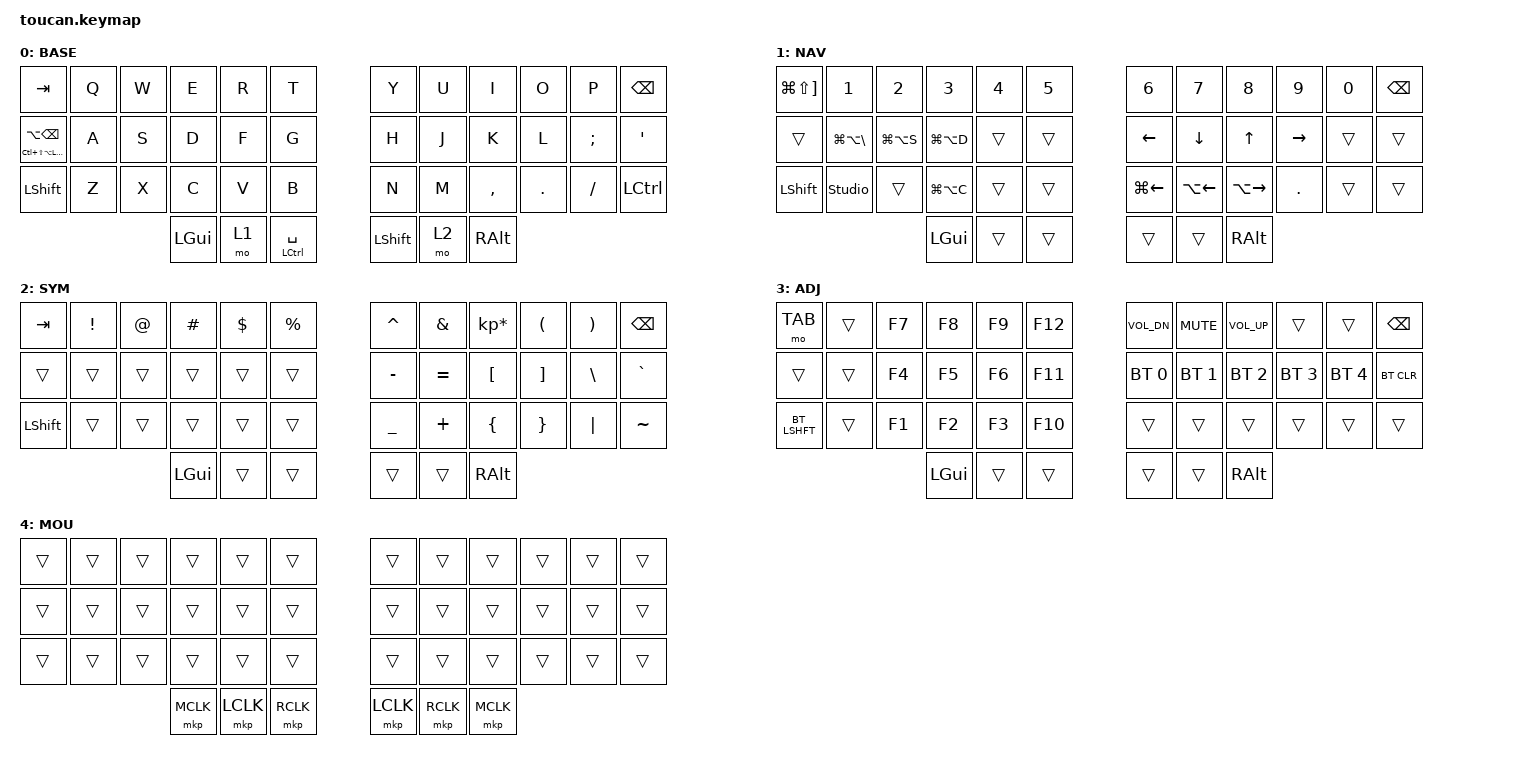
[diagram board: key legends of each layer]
#include <behaviors.dtsi>
#include <dt-bindings/zmk/bt.h>
#include <dt-bindings/zmk/keys.h>
#include <dt-bindings/zmk/pointing.h>

#define BASE 0
#define NAV  1
#define SYM  2
#define ADJ  3

&mt {
    flavor = "hold-preferred";
    tapping-term-ms = <200>;
    quick-tap-ms = <175>;
};

/ {
    conditional_layers {
        compatible = "zmk,conditional-layers";

        tri_layer {
            if-layers = <1 2>;
            then-layer = <3>;
        };
    };

    combos {
        compatible = "zmk,combos";

        Enter {
            bindings = <&kp RET>;
            key-positions = <19 20>;
            timeout-ms = <50>;
            require-prior-idle-ms = <100>;
        };

        Escape {
            bindings = <&kp ESC>;
            key-positions = <0 1>;
        };
    };

    behaviors {
        // Space thumb: tap = Space; hold + Tab = Control (Ctrl+Tab: Dia tab switcher).
        // Only the Tab key (position 0) can turn it into Control, so typing is unaffected.
        space_ctl: space_ctl {
            compatible = "zmk,behavior-hold-tap";
            #binding-cells = <2>;
            bindings = <&kp>, <&kp>;
            flavor = "hold-preferred";
            tapping-term-ms = <200>;
            hold-trigger-key-positions = <0>;
            require-prior-idle-ms = <150>;
        };
    };

    keymap {
        compatible = "zmk,keymap";

        base {
            display-name = "BASE";
            bindings = <
&kp TAB                        &kp Q  &kp W  &kp E  &kp R  &kp T  &kp Y  &kp U  &kp I      &kp O    &kp P     &kp BSPC
&mt LC(LS(LA(LGUI))) LA(BSPC)  &kp A  &kp S  &kp D  &kp F  &kp G  &kp H  &kp J  &kp K      &kp L    &kp SEMI  &kp SQT
&kp LSHFT                      &kp Z  &kp X  &kp C  &kp V  &kp B  &kp N  &kp M  &kp COMMA  &kp DOT  &kp FSLH  &kp LEFT_CONTROL
                                             &kp LGUI  &mo 1  &space_ctl LCTRL SPACE  &kp LEFT_SHIFT  &mo 2  &kp RALT
            >;
        };

        nav {
            display-name = "NAV";
            bindings = <
&kp LG(LS(RBKT))  &kp N1            &kp N2         &kp N3         &kp N4  &kp N5  &kp N6        &kp N7        &kp N8         &kp N9         &kp N0  &kp BSPC
&trans       &kp LG(LA(BSLH))  &kp LG(LA(S))  &kp LG(LA(D))  &trans  &trans  &kp LEFT      &kp DOWN      &kp UP         &kp RIGHT      &trans  &trans
&kp LSHFT    &studio_unlock    &trans         &kp LG(LA(C))  &trans  &trans  &kp LG(LEFT)  &kp LA(LEFT)  &kp LA(RIGHT)  &kp DOT         &trans  &trans
                                              &kp LGUI  &trans  &trans  &trans  &trans  &kp RALT
            >;
        };

        sym {
            display-name = "SYM";
            bindings = <
&kp TAB    &kp EXCL  &kp AT  &kp HASH  &kp DLLR  &kp PRCNT  &kp CARET  &kp AMPS   &kp KP_MULTIPLY  &kp LPAR  &kp RPAR  &kp BSPC
&trans     &trans    &trans  &trans    &trans    &trans     &kp MINUS  &kp EQUAL  &kp LBKT         &kp RBKT  &kp BSLH  &kp GRAVE
&kp LSHFT  &trans    &trans  &trans    &trans    &trans     &kp UNDER  &kp PLUS   &kp LBRC         &kp RBRC  &kp PIPE  &kp TILDE
                             &kp LGUI  &trans    &trans     &trans     &trans     &kp RALT
            >;
        };

        adj {
            display-name = "ADJ";
            bindings = <
&mo TAB    &trans  &kp F7  &kp F8    &kp F9  &kp F12  &kp C_VOL_DN  &kp C_MUTE    &kp C_VOL_UP  &trans        &trans        &kp BSPC
&trans     &trans  &kp F4  &kp F5    &kp F6  &kp F11  &bt BT_SEL 0  &bt BT_SEL 1  &bt BT_SEL 2  &bt BT_SEL 3  &bt BT_SEL 4  &bt BT_CLR
&bt LSHFT  &trans  &kp F1  &kp F2    &kp F3  &kp F10  &trans        &trans        &trans        &trans        &trans        &trans
                           &kp LGUI  &trans  &trans   &trans        &trans        &kp RALT
            >;
        };

        mouse {
            display-name = "MOU";
            bindings = <
&trans  &trans  &trans  &trans     &trans     &trans     &trans     &trans     &trans     &trans  &trans  &trans
&trans  &trans  &trans  &trans     &trans     &trans     &trans     &trans     &trans     &trans  &trans  &trans
&trans  &trans  &trans  &trans     &trans     &trans     &trans     &trans     &trans     &trans  &trans  &trans
                        &mkp MCLK  &mkp LCLK  &mkp RCLK  &mkp LCLK  &mkp RCLK  &mkp MCLK
            >;
        };

        extra_2 { status = "reserved"; };

        extra_3 { status = "reserved"; };
    };
};
